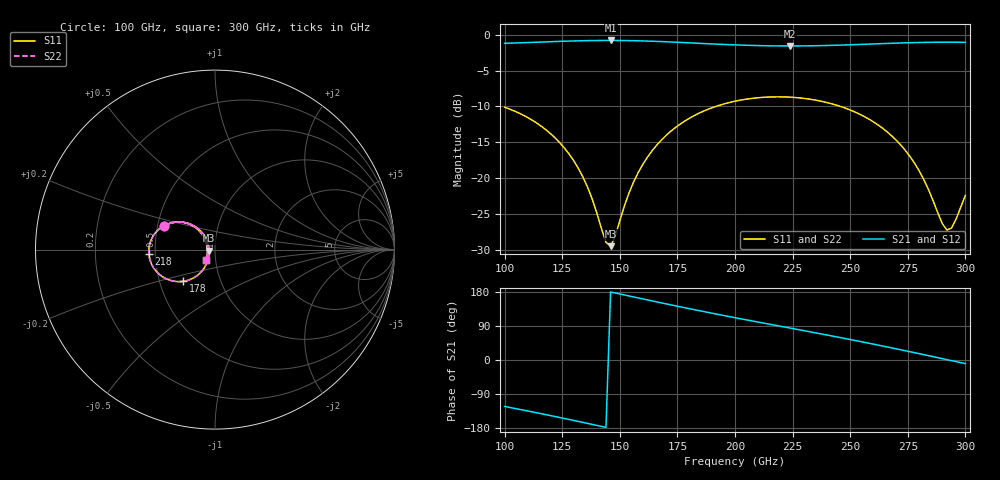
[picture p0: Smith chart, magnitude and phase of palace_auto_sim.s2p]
#  GHZ S DB R 50
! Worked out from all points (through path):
!   101 points, 100 GHz to 300 GHz, reference 50 ohm
!   highest |S21| = -0.80 dB at 146 GHz (marker M1); lowest = -1.6 dB at 224 GHz (marker M2)
!   group delay of S21, straight-line fit = 3.4 ps
!   lowest |S11| = -29.5 dB at 146 GHz (marker M3), VSWR 1.07, Z = 46.8 - j0.534 ohm
!   |S11| at or under -10 dB: start of sweep to 191.6 GHz; 245.8 GHz to end of sweep
!   |S22| runs from -29.4 to -8.7 dB; largest |S21 - S12| = 1e-13
!   S11 on the Smith chart (normalised r, x): 100 GHz: 0.54, +0.16; 178 GHz: 0.66, -0.25; 218 GHz: 0.46, -0.03; 300 GHz: 0.90, -0.10
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100  -10.10 155.3  -1.20 -122.6  -1.20 -122.6  -10.10 155.3
120  -13.81 134.9  -0.97 -146.8  -0.97 -146.8  -13.80 134.9
128  -16.63 128.7  -0.89 -157.0  -0.89 -157.0  -16.63 128.7
134  -19.83 127.2  -0.84 -164.7  -0.84 -164.7  -19.82 127.3
138  -22.89 130.7  -0.82 -169.9  -0.82 -169.9  -22.87 130.9
144  -28.92 164.2  -0.80 -177.8  -0.80 -177.8  -28.87 164.3
146  -29.46 -170.2  -0.80 179.5  -0.80 179.5  -29.40 -170.4
156  -20.51 -120.7  -0.84 166.4  -0.84 166.4  -20.51 -120.9
162  -17.06 -121.3  -0.89 158.5  -0.89 158.5  -17.06 -121.4
168  -14.69 -125.5  -0.96 150.8  -0.96 150.8  -14.69 -125.5
178  -12.07 -134.8  -1.10 138.1  -1.10 138.1  -12.07 -134.9
200  -9.27 -157.7  -1.42 111.7  -1.42 111.7  -9.27 -157.7
218  -8.66 -176.3  -1.56 91.0  -1.56 91.0  -8.66 -176.3
224  -8.70 177.6  -1.57 84.2  -1.57 84.2  -8.70 177.5
234  -9.06 167.4  -1.54 72.7  -1.54 72.7  -9.06 167.3
252  -10.76 149.3  -1.38 51.6  -1.38 51.6  -10.76 149.2
268  -14.09 134.8  -1.20 32.0  -1.20 32.0  -14.09 134.7
280  -19.01 130.4  -1.09 16.6  -1.09 16.6  -19.02 130.1
290  -26.33 159.1  -1.05 3.5  -1.05 3.5  -26.41 158.8
292  -27.22 176.9  -1.04 0.9  -1.04 0.9  -27.33 176.8
294  -26.93 -163.8  -1.05 -1.7  -1.05 -1.7  -27.03 -163.7
300  -22.39 -131.9  -1.06 -9.6  -1.06 -9.6  -22.43 -131.6
